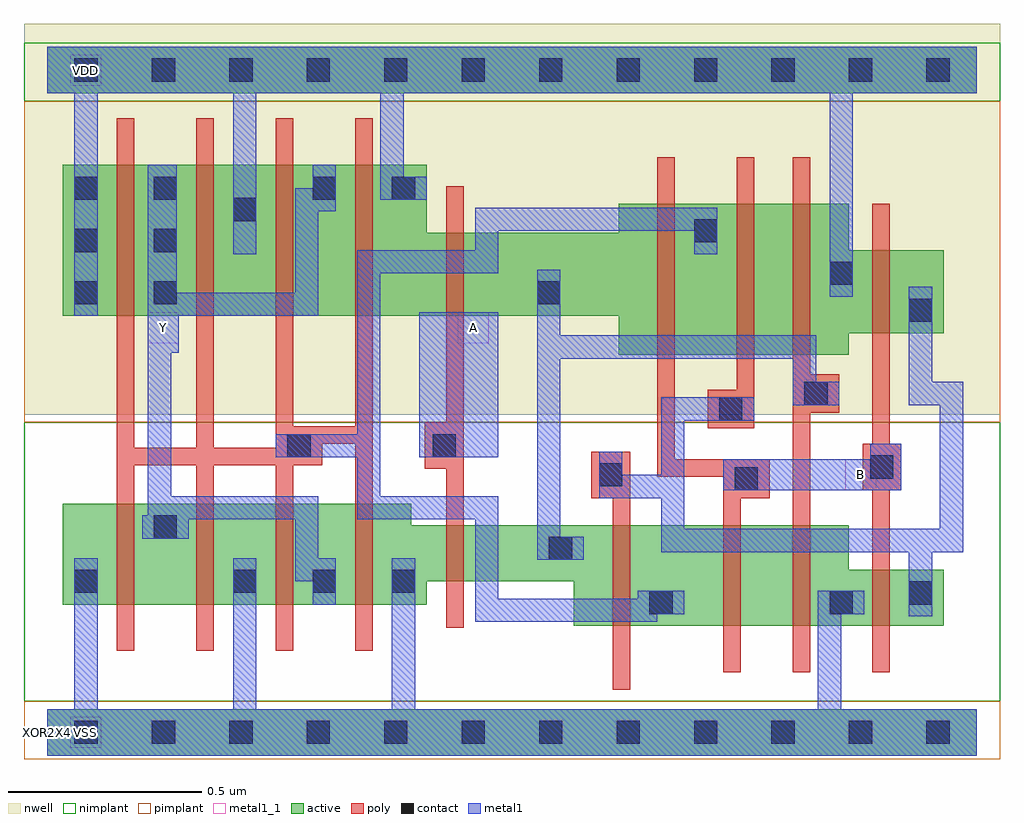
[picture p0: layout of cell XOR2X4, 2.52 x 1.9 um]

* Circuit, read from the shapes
.subckt XOR2X4 A B VDD VSS Y
M1 Y n1 VSS VSS nfet w=0.26u l=0.045u m=4
M2 n2 A VSS VSS nfet w=0.145u l=0.045u
M3 n1 n3 n2 VSS nfet w=0.26u l=0.045u
M4 n4 B n1 VSS nfet w=0.26u l=0.045u
M5 VSS n2 n4 VSS nfet w=0.26u l=0.045u
M6 n3 B VSS VSS nfet w=0.145u l=0.045u
M7 Y n1 VDD VDD pfet w=0.39u l=0.045u m=4
M8 n2 A VDD VDD pfet w=0.215u l=0.045u
M9 n1 B n2 VDD pfet w=0.39u l=0.045u
M10 n5 n3 n1 VDD pfet w=0.39u l=0.045u
M11 VDD n2 n5 VDD pfet w=0.39u l=0.045u
M12 n3 B VDD VDD pfet w=0.215u l=0.045u
.ends

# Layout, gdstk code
import gdstk
lib = gdstk.Library(unit=1e-6, precision=5e-10)
def R(c, l, rs):  # rectangles x0, y0, x1, y1
    for r in rs: c.add(gdstk.rectangle(r[:2], r[2:], *l))
def A(c, l, x, y, w, h, nx, ny, dx, dy):  # array of equal rectangles
    R(c, l, [(x+i*dx, y+j*dy, x+i*dx+w, y+j*dy+h) for i in range(nx) for j in range(ny)])
def P(c, l, *ps):  # polygons
    for p in ps: c.add(gdstk.Polygon(p, *l))
active = (1, 0)
nwell = (2, 0)
poly = (3, 0)
nimplant = (4, 0)
pimplant = (5, 0)
contact = (6, 0)
metal1 = (7, 0)
metal1_1 = (7, 1)

xor2x4 = lib.new_cell('XOR2X4')
R(xor2x4, active, [(0,-0.06,2.4,0.06), (0,1.65,2.4,1.77)])
P(xor2x4, active, [(0.04,1.465),(0.98,1.465),(0.98,1.29),(1.475,1.29),(1.475,1.365),(2.07,1.365),(2.07,1.245),(2.315,1.245),(2.315,1.03),(2.07,1.03),(2.07,0.975),(1.475,0.975),(1.475,1.075),(0.04,1.075)],
  [(0.04,0.59),(0.94,0.59),(0.94,0.535),(2.07,0.535),(2.07,0.42),(2.315,0.42),(2.315,0.275),(1.36,0.275),(1.36,0.39),(0.98,0.39),(0.98,0.33),(0.04,0.33)])
R(xor2x4, nwell, [(-0.06,0.82,2.46,1.83)])
P(xor2x4, poly, [(0.18,1.585),(0.225,1.585),(0.225,0.735),(0.385,0.735),(0.385,1.585),(0.43,1.585),(0.43,0.735),(0.59,0.735),(0.59,1.585),(0.635,1.585),(0.635,0.79),(0.795,0.79),(0.795,1.585),(0.84,1.585),(0.84,0.21),(0.795,0.21),(0.795,0.745),(0.71,0.745),(0.71,0.69),(0.635,0.69),(0.635,0.21),(0.59,0.21),(0.59,0.69),(0.43,0.69),(0.43,0.21),(0.385,0.21),(0.385,0.69),(0.225,0.69),(0.225,0.21),(0.18,0.21)],
  [(1.575,1.485),(1.62,1.485),(1.62,0.705),(1.865,0.705),(1.865,0.605),(1.79,0.605),(1.79,0.155),(1.745,0.155),(1.745,0.66),(1.575,0.66)],
  [(1.78,1.485),(1.825,1.485),(1.825,0.785),(1.705,0.785),(1.705,0.885),(1.78,0.885)],
  [(1.925,1.485),(1.97,1.485),(1.97,0.925),(2.045,0.925),(2.045,0.825),(1.97,0.825),(1.97,0.155),(1.925,0.155)],
  [(1.03,1.41),(1.075,1.41),(1.075,0.27),(1.03,0.27),(1.03,0.68),(0.975,0.68),(0.975,0.8),(1.03,0.8)],
  [(2.13,1.365),(2.175,1.365),(2.175,0.745),(2.205,0.745),(2.205,0.625),(2.175,0.625),(2.175,0.155),(2.13,0.155),(2.13,0.625),(2.105,0.625),(2.105,0.745),(2.13,0.745)],
  [(1.405,0.725),(1.505,0.725),(1.505,0.11),(1.46,0.11),(1.46,0.605),(1.405,0.605)])
R(xor2x4, nimplant, [(-0.06,0.08,2.46,0.8), (-0.06,1.63,2.46,1.78)])
R(xor2x4, pimplant, [(-0.06,-0.07,2.46,0.08), (-0.06,0.8,2.46,1.63)])
A(xor2x4, contact, 0.07, -0.03, 0.06, 0.06, 12, 2, 0.2, 1.71)
A(xor2x4, contact, 0.48, 0.36, 0.06, 0.06, 3, 1, 0.205, 0)
A(xor2x4, contact, 0.07, 1.105, 0.06, 0.06, 1, 3, 0, 0.135)
A(xor2x4, contact, 0.275, 1.105, 0.06, 0.06, 1, 3, 0, 0.135)
R(xor2x4, contact, [(1.555,0.305,1.615,0.365), (2.02,0.305,2.08,0.365), (2.225,0.33,2.285,0.39), (0.07,0.36,0.13,0.42), (1.295,0.445,1.355,0.505), (0.275,0.5,0.335,0.56), (1.775,0.625,1.835,0.685), (1.425,0.635,1.485,0.695), (2.125,0.655,2.185,0.715), (0.62,0.71,0.68,0.77), (0.995,0.71,1.055,0.77), (1.735,0.805,1.795,0.865), (1.955,0.845,2.015,0.905), (2.225,1.06,2.285,1.12), (1.265,1.105,1.325,1.165), (2.02,1.155,2.08,1.215), (1.67,1.265,1.73,1.325), (0.48,1.32,0.54,1.38), (0.685,1.375,0.745,1.435), (0.89,1.375,0.95,1.435)])
R(xor2x4, metal1, [(0.96,0.71,1.165,1.085)])
P(xor2x4, metal1, [(0,1.77),(2.4,1.77),(2.4,1.65),(2.08,1.65),(2.08,1.125),(2.02,1.125),(2.02,1.65),(0.92,1.65),(0.92,1.435),(0.98,1.435),(0.98,1.375),(0.86,1.375),(0.86,1.65),(0.54,1.65),(0.54,1.235),(0.48,1.235),(0.48,1.65),(0.13,1.65),(0.13,1.075),(0.07,1.075),(0.07,1.65),(0,1.65)],
  [(0.26,1.465),(0.335,1.465),(0.335,1.135),(0.64,1.135),(0.64,1.405),(0.685,1.405),(0.685,1.465),(0.745,1.465),(0.745,1.345),(0.7,1.345),(0.7,1.075),(0.34,1.075),(0.34,0.98),(0.32,0.98),(0.32,0.61),(0.7,0.61),(0.7,0.45),(0.745,0.45),(0.745,0.33),(0.685,0.33),(0.685,0.39),(0.64,0.39),(0.64,0.55),(0.365,0.55),(0.365,0.5),(0.245,0.5),(0.245,0.56),(0.26,0.56)],
  [(1.105,1.355),(1.73,1.355),(1.73,1.235),(1.67,1.235),(1.67,1.295),(1.165,1.295),(1.165,1.185),(0.86,1.185),(0.86,0.61),(1.165,0.61),(1.165,0.345),(1.525,0.345),(1.525,0.365),(1.645,0.365),(1.645,0.305),(1.575,0.305),(1.575,0.285),(1.105,0.285),(1.105,0.55),(0.8,0.55),(0.8,0.71),(0.59,0.71),(0.59,0.77),(0.8,0.77),(0.8,1.245),(1.105,1.245)],
  [(1.265,1.195),(1.325,1.195),(1.325,1.025),(1.985,1.025),(1.985,0.905),(2.045,0.905),(2.045,0.845),(1.925,0.845),(1.925,0.965),(1.325,0.965),(1.325,0.505),(1.385,0.505),(1.385,0.445),(1.265,0.445)],
  [(2.225,1.15),(2.285,1.15),(2.285,0.905),(2.365,0.905),(2.365,0.465),(2.285,0.465),(2.285,0.3),(2.225,0.3),(2.225,0.465),(1.585,0.465),(1.585,0.605),(1.425,0.605),(1.425,0.725),(1.485,0.725),(1.485,0.665),(1.585,0.665),(1.585,0.865),(1.825,0.865),(1.825,0.805),(1.645,0.805),(1.645,0.525),(2.305,0.525),(2.305,0.845),(2.225,0.845)],
  [(0.07,0.45),(0.13,0.45),(0.13,0.06),(0.48,0.06),(0.48,0.45),(0.54,0.45),(0.54,0.06),(0.89,0.06),(0.89,0.45),(0.95,0.45),(0.95,0.06),(1.99,0.06),(1.99,0.365),(2.11,0.365),(2.11,0.305),(2.05,0.305),(2.05,0.06),(2.4,0.06),(2.4,-0.06),(0,-0.06),(0,0.06),(0.07,0.06)],
  [(2.125,0.745),(2.205,0.745),(2.205,0.625),(1.745,0.625),(1.745,0.705),(2.125,0.705)])
R(xor2x4, metal1_1, [(0.06,-0.04,0.14,0.04), (2.06,0.625,2.14,0.705), (0.26,1.005,0.34,1.085), (1.06,1.005,1.14,1.085), (0.06,1.67,0.14,1.75)])
xor2x4.add(gdstk.Label('Y', (0.3,1.045), layer=7, texttype=1))
xor2x4.add(gdstk.Label('B', (2.1,0.665), layer=7, texttype=1))
xor2x4.add(gdstk.Label('A', (1.1,1.045), layer=7, texttype=1))
xor2x4.add(gdstk.Label('VDD', (0.1,1.71), layer=7, texttype=1))
xor2x4.add(gdstk.Label('VSS', (0.1,0), layer=7, texttype=1))
xor2x4.add(gdstk.Label('XOR2X4', (0,0), layer=63, texttype=0))

lib.write_gds('XOR2X4.gds')
